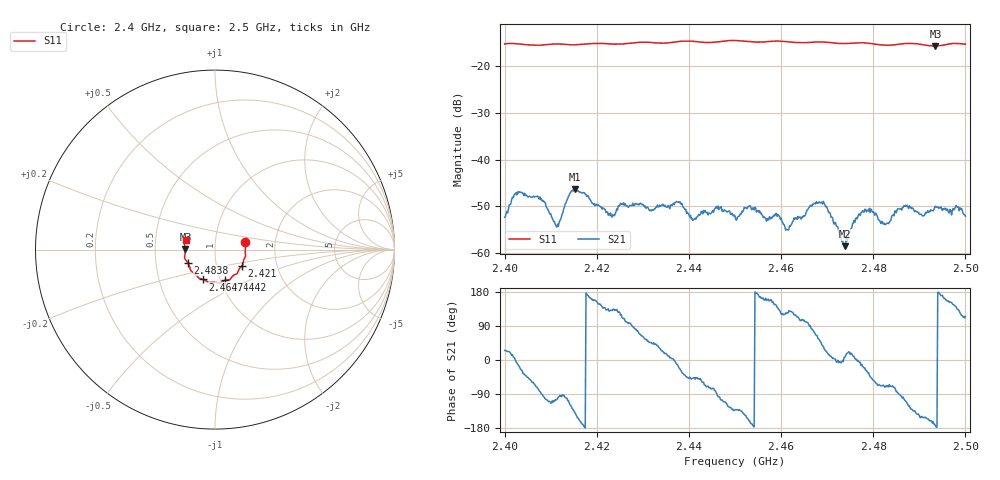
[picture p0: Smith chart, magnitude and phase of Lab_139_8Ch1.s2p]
# Hz S RI R 50
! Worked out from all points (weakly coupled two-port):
!   601 points, 2.4 GHz to 2.5 GHz, reference 50 ohm
!   highest |S21| = -46.34 dB at 2.4153 GHz (marker M1); lowest = -58.5 dB at 2.4738 GHz (marker M2)
!   lowest |S11| = -15.7 dB at 2.4935 GHz (marker M3), VSWR 1.39, Z = 35.8 + j0.186 ohm
!   |S11| at or under -10 dB: start of sweep to end of sweep
!   S12 and S22 are empty: the file has one direction only
!   S11 on the Smith chart (normalised r, x): 2.4 GHz: 1.40, +0.12; 2.421 GHz: 1.33, -0.24; 2.4442 GHz: 1.05, -0.37; 2.4647 GHz: 0.83, -0.28; 2.4838 GHz: 0.73, -0.11; 2.5 GHz: 0.71, +0.08
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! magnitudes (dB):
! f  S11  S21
! 2.4 GHz  -15.2  -52.4
! 2.4033 GHz  -15.2  -46.9
! 2.4082 GHz  -15.5  -48.9
! 2.4115 GHz  -15.2  -53.8
! 2.4153 GHz  -15.4  -46.3
! 2.4167 GHz  -15.3  -47.1
! 2.421 GHz  -15.1  -50.1
! 2.4333 GHz  -15.0  -50.1
! 2.4442 GHz  -14.9  -51.8
! 2.45 GHz  -14.5  -52.1
! 2.4533 GHz  -14.7  -49.9
! 2.4613 GHz  -14.7  -54.9
! 2.4647 GHz  -14.9  -52.4
! 2.4667 GHz  -14.8  -50.0
! 2.4695 GHz  -14.8  -49.6
! 2.4738 GHz  -15.1  -58.5
! 2.4778 GHz  -15.0  -51.2
! 2.4833 GHz  -15.5  -53.7
! 2.4838 GHz  -15.5  -53.0
! 2.4868 GHz  -15.1  -49.9
! 2.4935 GHz  -15.7  -50.0
! 2.5 GHz  -15.3  -52.1
